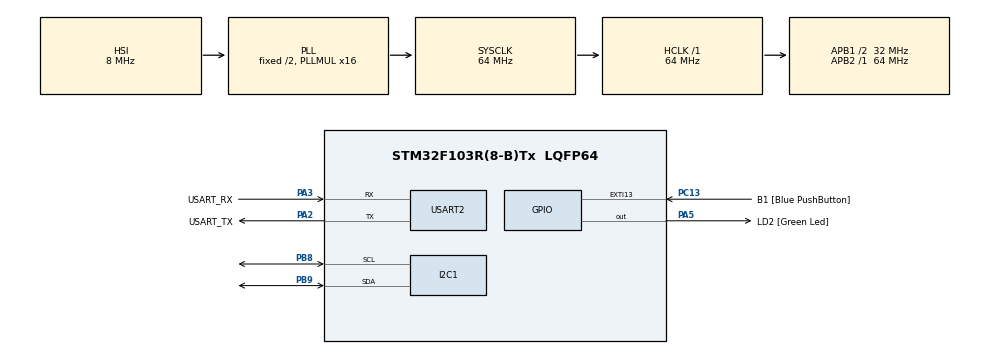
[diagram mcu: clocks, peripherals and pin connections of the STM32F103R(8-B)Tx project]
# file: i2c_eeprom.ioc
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Mcu.Family=STM32F1
Mcu.Name=STM32F103R(8-B)Tx
Mcu.Package=LQFP64
NVIC.EXTI15_10_IRQn=true\:0\:0\:false\:false\:true\:true\:true\:true
NVIC.PriorityGroup=NVIC_PRIORITYGROUP_4
PA13.GPIO_Label=TMS
PA13.Mode=Serial_Wire
PA13.Signal=SYS_JTMS-SWDIO
PA14.GPIO_Label=TCK
PA14.Mode=Serial_Wire
PA14.Signal=SYS_JTCK-SWCLK
PA2.GPIO_Label=USART_TX
PA2.GPIO_Mode=GPIO_MODE_AF_PP
PA2.GPIO_PuPd=GPIO_NOPULL
PA2.GPIO_Speed=GPIO_SPEED_FREQ_LOW
PA2.Mode=Asynchronous
PA2.Signal=USART2_TX
PA3.GPIO_Label=USART_RX
PA3.GPIO_Mode=GPIO_MODE_AF_PP
PA3.GPIO_PuPd=GPIO_NOPULL
PA3.GPIO_Speed=GPIO_SPEED_FREQ_LOW
PA3.Mode=Asynchronous
PA3.Signal=USART2_RX
PA5.GPIO_Label=LD2 [Green Led]
PA5.GPIO_ModeDefaultOutputPP=GPIO_MODE_OUTPUT_PP
PA5.GPIO_PuPd=GPIO_NOPULL
PA5.GPIO_Speed=GPIO_SPEED_FREQ_LOW
PA5.Signal=GPIO_Output
PB3.GPIO_Label=SWO
PB3.Signal=SYS_JTDO-TRACESWO
PB8.Mode=I2C
PB8.Signal=I2C1_SCL
PB9.Mode=I2C
PB9.Signal=I2C1_SDA
PC13-TAMPER-RTC.GPIO_Label=B1 [Blue PushButton]
PC13-TAMPER-RTC.GPIO_PuPd=GPIO_NOPULL
PC13-TAMPER-RTC.Signal=GPXTI13
PC14-OSC32_IN.Signal=RCC_OSC32_IN
PC15-OSC32_OUT.Signal=RCC_OSC32_OUT
PD0-OSC_IN.Signal=RCC_OSC_IN
PD1-OSC_OUT.Signal=RCC_OSC_OUT
ProjectManager.HeapSize=0x200
ProjectManager.StackSize=0x400
ProjectManager.TargetToolchain=STM32CubeIDE
RCC.AHBFreq_Value=64000000
RCC.APB1CLKDivider=RCC_HCLK_DIV2
RCC.APB1Freq_Value=32000000
RCC.APB1TimFreq_Value=64000000
RCC.APB2Freq_Value=64000000
RCC.APB2TimFreq_Value=64000000
RCC.HCLKFreq_Value=64000000
RCC.PLLMUL=RCC_PLL_MUL16
RCC.RTCClockSelection=RCC_RTCCLKSOURCE_LSE
RCC.SYSCLKFreq_VALUE=64000000
RCC.SYSCLKSource=RCC_SYSCLKSOURCE_PLLCLK
RCC.USBFreq_Value=64000000
USART2.VirtualMode=VM_ASYNC
board=NUCLEO-F103RB

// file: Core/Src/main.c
/* USER CODE BEGIN Header */
/**
  ******************************************************************************
  * @file           : main.c
  * @brief          : Main program body
  ******************************************************************************
  * @attention
  *
  * Copyright (c) 2025 STMicroelectronics.
  * All rights reserved.
  *
  * This software is licensed under terms that can be found in the LICENSE file
  * in the root directory of this software component.
  * If no LICENSE file comes with this software, it is provided AS-IS.
  *
  ******************************************************************************
  */
/* USER CODE END Header */
#include "main.h"

/* USER CODE BEGIN Includes */
#include <stdio.h>
#include <string.h>
/* USER CODE END Includes */

/* USER CODE BEGIN PD */
#define K24C256_ADDR        0xA0    // K24C256 I2C 주소 (A0,A1,A2 = 000)
#define EEPROM_PAGE_SIZE    64      // K24C256 페이지 크기 (64 bytes)
#define EEPROM_SIZE         32768   // K24C256 총 크기 (32KB)
#define TEST_ADDRESS        0x0000  // 테스트용 주소
/* USER CODE END PD */

I2C_HandleTypeDef hi2c1;

UART_HandleTypeDef huart2;

/* USER CODE BEGIN PV */
uint8_t i2c_scan_found = 0;
uint8_t eeprom_address = 0;
/* USER CODE END PV */

void SystemClock_Config(void);
static void MX_GPIO_Init(void);
static void MX_USART2_UART_Init(void);
static void MX_I2C1_Init(void);
/* USER CODE BEGIN PFP */
void I2C_Scan(void);
HAL_StatusTypeDef EEPROM_Write(uint16_t mem_addr, uint8_t *data, uint16_t size);
HAL_StatusTypeDef EEPROM_Read(uint16_t mem_addr, uint8_t *data, uint16_t size);
void EEPROM_Test(void);
void Test_0xB0_Device(void);
/* USER CODE END PFP */

/* USER CODE BEGIN 0 */
#ifdef __GNUC__
#define PUTCHAR_PROTOTYPE int __io_putchar(int ch)
#else
#define PUTCHAR_PROTOTYPE int fputc(int ch, FILE *f)
#endif /* __GNUC__ */
PUTCHAR_PROTOTYPE
{

  if (ch == '\n')
    HAL_UART_Transmit(&huart2, (uint8_t*)"\r", 1, 0xFFFF);
  HAL_UART_Transmit(&huart2, (uint8_t*)&ch, 1, 0xFFFF);

  return ch;
}

/**
  * @brief  I2C 주소 스캔 함수
  * @param  None
  * @retval None
  */
void I2C_Scan(void)
{
  printf("\n=== I2C Address Scan ===\n");
  printf("Scanning I2C bus...\n");

  i2c_scan_found = 0;

  for(uint8_t i = 0; i < 128; i++)
  {
    if(HAL_I2C_IsDeviceReady(&hi2c1, (uint16_t)(i<<1), 3, 5) == HAL_OK)
    {
      printf("Found I2C device at address: 0x%02X (7-bit: 0x%02X)\n", (i<<1), i);
      i2c_scan_found++;

      // K24C256 주소 범위 확인 (0xA0~0xAE)
      if((i<<1) >= 0xA0 && (i<<1) <= 0xAE)
      {
        eeprom_address = (i<<1);
        printf("** K24C256 EEPROM detected at 0x%02X **\n", eeprom_address);
      }
    }
  }

  if(i2c_scan_found == 0)
  {
    printf("No I2C devices found!\n");
  }
  else
  {
    printf("Total %d I2C device(s) found.\n", i2c_scan_found);
  }
  printf("========================\n\n");
}

/**
  * @brief  EEPROM 쓰기 함수
  * @param  mem_addr: 메모리 주소
  * @param  data: 쓸 데이터 포인터
  * @param  size: 데이터 크기
  * @retval HAL_StatusTypeDef
  */
HAL_StatusTypeDef EEPROM_Write(uint16_t mem_addr, uint8_t *data, uint16_t size)
{
  HAL_StatusTypeDef status = HAL_OK;
  uint16_t bytes_to_write;
  uint16_t current_addr = mem_addr;
  uint16_t data_index = 0;

  while(size > 0)
  {
    // 페이지 경계를 고려한 쓰기 크기 계산
    bytes_to_write = EEPROM_PAGE_SIZE - (current_addr % EEPROM_PAGE_SIZE);
    if(bytes_to_write > size)
      bytes_to_write = size;

    // EEPROM에 쓰기
    status = HAL_I2C_Mem_Write(&hi2c1, eeprom_address, current_addr,
                               I2C_MEMADD_SIZE_16BIT, &data[data_index],
                               bytes_to_write, HAL_MAX_DELAY);

    if(status != HAL_OK)
    {
      printf("EEPROM Write Error at address 0x%04X\n", current_addr);
      return status;
    }

    // EEPROM 쓰기 완료 대기 (Write Cycle Time)
    HAL_Delay(5);

    // 다음 쓰기를 위한 변수 업데이트
    current_addr += bytes_to_write;
    data_index += bytes_to_write;
    size -= bytes_to_write;
  }

  return status;
}

/**
  * @brief  EEPROM 읽기 함수
  * @param  mem_addr: 메모리 주소
  * @param  data: 읽을 데이터 포인터
  * @param  size: 데이터 크기
  * @retval HAL_StatusTypeDef
  */
HAL_StatusTypeDef EEPROM_Read(uint16_t mem_addr, uint8_t *data, uint16_t size)
{
  return HAL_I2C_Mem_Read(&hi2c1, eeprom_address, mem_addr,
                          I2C_MEMADD_SIZE_16BIT, data, size, HAL_MAX_DELAY);
}

/**
  * @brief  EEPROM 테스트 함수
  * @param  None
  * @retval None
  */
void EEPROM_Test(void)
{
  if(eeprom_address == 0)
  {
    printf("EEPROM not detected! Cannot perform test.\n\n");
    return;
  }

  printf("=== EEPROM Test ===\n");

  // 테스트 데이터 준비
  char write_data[] = "Hello, STM32F103 with K24C256 EEPROM!";
  uint8_t read_data[100] = {0};
  uint16_t data_len = strlen(write_data);

  printf("Test Address: 0x%04X\n", TEST_ADDRESS);
  printf("Write Data: \"%s\" (%d bytes)\n", write_data, data_len);

  // EEPROM에 데이터 쓰기
  printf("Writing to EEPROM...\n");
  if(EEPROM_Write(TEST_ADDRESS, (uint8_t*)write_data, data_len) == HAL_OK)
  {
    printf("Write successful!\n");
  }
  else
  {
    printf("Write failed!\n");
    return;
  }

  // 잠시 대기
  HAL_Delay(10);

  // EEPROM에서 데이터 읽기
  printf("Reading from EEPROM...\n");
  if(EEPROM_Read(TEST_ADDRESS, read_data, data_len) == HAL_OK)
  {
    printf("Read successful!\n");
    printf("Read Data: \"%s\" (%d bytes)\n", (char*)read_data, data_len);

    // 데이터 비교
    if(memcmp(write_data, read_data, data_len) == 0)
    {
      printf("** Data verification PASSED! **\n");
    }
    else
    {
      printf("** Data verification FAILED! **\n");
    }
  }
  else
  {
    printf("Read failed!\n");
  }

  printf("===================\n\n");

  // 추가 테스트: 숫자 데이터
  printf("=== Number Data Test ===\n");
  uint8_t num_write[10] = {0, 1, 2, 3, 4, 5, 6, 7, 8, 9};
  uint8_t num_read[10] = {0};
  uint16_t num_addr = TEST_ADDRESS + 100;

  printf("Writing numbers 0-9 to address 0x%04X...\n", num_addr);
  if(EEPROM_Write(num_addr, num_write, 10) == HAL_OK)
  {
    HAL_Delay(10);

    if(EEPROM_Read(num_addr, num_read, 10) == HAL_OK)
    {
      printf("Write Data: ");
      for(int i = 0; i < 10; i++) printf("%d ", num_write[i]);
      printf("\n");

      printf("Read Data:  ");
      for(int i = 0; i < 10; i++) printf("%d ", num_read[i]);
      printf("\n");

      if(memcmp(num_write, num_read, 10) == 0)
      {
        printf("** Number test PASSED! **\n");
      }
      else
      {
        printf("** Number test FAILED! **\n");
      }
    }
  }
  printf("========================\n\n");
}
void Test_0xB0_Device(void)
{
  printf("=== Testing 0xB0 Device Identity ===\n");
  printf("Checking if 0xB0 is an extended memory block...\n\n");

  uint8_t write_data[] = "Block1Test";
  uint8_t read_data[20] = {0};
  uint16_t test_addr = 0x0100;
  HAL_StatusTypeDef status;

  // 테스트 1: EEPROM처럼 동작하는지 확인
  printf("Test 1: Writing to 0xB0 at address 0x%04X...\n", test_addr);
  status = HAL_I2C_Mem_Write(&hi2c1, 0xB0, test_addr,
                             I2C_MEMADD_SIZE_16BIT, write_data,
                             strlen((char*)write_data), HAL_MAX_DELAY);

  if(status == HAL_OK)
  {
    printf("  Write to 0xB0: SUCCESS\n");
    HAL_Delay(10);

    // 읽기 시도
    printf("Test 2: Reading from 0xB0 at address 0x%04X...\n", test_addr);
    status = HAL_I2C_Mem_Read(&hi2c1, 0xB0, test_addr,
                              I2C_MEMADD_SIZE_16BIT, read_data,
                              strlen((char*)write_data), HAL_MAX_DELAY);

    if(status == HAL_OK)
    {
      printf("  Read from 0xB0: SUCCESS\n");
      printf("  Write Data: \"%s\"\n", write_data);
      printf("  Read Data:  \"%s\"\n", read_data);

      if(memcmp(write_data, read_data, strlen((char*)write_data)) == 0)
      {
        printf("\n** 0xB0 IS A VALID EEPROM BLOCK! **\n");
        printf("** Your chip is likely 64KB (512Kbit), not 32KB! **\n");
        printf("** Block 0 (0xA0): 32KB **\n");
        printf("** Block 1 (0xB0): 32KB **\n");
        printf("** Total: 64KB available! **\n");
      }
      else
      {
        printf("\n** Data mismatch - 0xB0 behavior unclear **\n");
      }
    }
    else
    {
      printf("  Read from 0xB0: FAILED\n");
      printf("** 0xB0 accepts write but not read - unusual device **\n");
    }
  }
  else
  {
    printf("  Write to 0xB0: FAILED\n");

    // 테스트 3: 다른 프로토콜 시도
    printf("\nTest 3: Trying different access methods...\n");

    // 8비트 주소로 시도
    status = HAL_I2C_Mem_Read(&hi2c1, 0xB0, 0x00,
                              I2C_MEMADD_SIZE_8BIT, read_data, 8, 1000);
    if(status == HAL_OK)
    {
      printf("  8-bit address read: SUCCESS\n");
      printf("  Data: ");
      for(int i=0; i<8; i++) printf("%02X ", read_data[i]);
      printf("\n");
      printf("** 0xB0 is likely an RTC, sensor, or other I2C device **\n");
    }
    else
    {
      // 단순 수신 시도
      status = HAL_I2C_Master_Receive(&hi2c1, 0xB0, read_data, 8, 1000);
      if(status == HAL_OK)
      {
        printf("  Simple receive: SUCCESS\n");
        printf("  Data: ");
        for(int i=0; i<8; i++) printf("%02X ", read_data[i]);
        printf("\n");
        printf("** 0xB0 responds but protocol unclear **\n");
      }
      else
      {
        printf("  All access methods: FAILED\n");
        printf("** 0xB0 detected but not accessible **\n");
        printf("** Possible ghost address or bus issue **\n");
      }
    }
  }

  // 크로스 체크: 0xA0와 0xB0가 같은 메모리를 공유하는지 확인
  printf("\nTest 4: Cross-check with 0xA0...\n");
  memset(read_data, 0, sizeof(read_data));

  // 0xA0에 특별한 데이터 쓰기
  uint8_t marker[] = "CrossCheck";
  if(EEPROM_Write(0x0200, marker, strlen((char*)marker)) == HAL_OK)
  {
    HAL_Delay(10);

    // 0xB0의 같은 주소에서 읽기 시도
    status = HAL_I2C_Mem_Read(&hi2c1, 0xB0, 0x0200,
                              I2C_MEMADD_SIZE_16BIT, read_data,
                              strlen((char*)marker), HAL_MAX_DELAY);

    if(status == HAL_OK)
    {
      printf("  0xB0 read at 0x0200: SUCCESS\n");
      printf("  0xA0 wrote: \"%s\"\n", marker);
      printf("  0xB0 read:  \"%s\"\n", read_data);

      if(memcmp(marker, read_data, strlen((char*)marker)) == 0)
      {
        printf("\n** 0xA0 and 0xB0 share SAME memory! **\n");
        printf("** 0xB0 is an ALIAS of 0xA0 - same 32KB chip **\n");
        printf("** Your chip reports multiple addresses **\n");
      }
      else
      {
        printf("\n** 0xA0 and 0xB0 have DIFFERENT data! **\n");
        printf("** They are INDEPENDENT memory blocks **\n");
        printf("** Total 64KB confirmed! **\n");
      }
    }
    else
    {
      printf("  0xB0 read at 0x0200: FAILED\n");
      printf("** Cannot determine relationship **\n");
    }
  }

  printf("====================================\n\n");
}
/* USER CODE END 0 */

int main(void)
{

  /* MCU Configuration--------------------------------------------------------*/

  /* Reset of all peripherals, Initializes the Flash interface and the Systick. */
  HAL_Init();

  /* Configure the system clock */
  SystemClock_Config();

  /* Initialize all configured peripherals */
  MX_GPIO_Init();
  MX_USART2_UART_Init();
  MX_I2C1_Init();
  /* USER CODE BEGIN 2 */
  printf("\n\n");
    printf("========================================\n");
    printf("  STM32F103 I2C EEPROM K24C256 Test    \n");
    printf("  System Clock: 64MHz                  \n");
    printf("  I2C Speed: 100kHz                    \n");
    printf("========================================\n");

    // I2C 주소 스캔
    I2C_Scan();

    // EEPROM 테스트
    EEPROM_Test();
    Test_0xB0_Device();

    printf("Test completed. Entering main loop...\n\n");
  /* USER CODE END 2 */

  /* Infinite loop */
  /* USER CODE BEGIN WHILE */
    uint32_t loop_count = 0;
  while (1)
  {
	  // 10초마다 상태 출력
	  	    if(loop_count % 1000 == 0)
	  	    {
	  	      printf("System running... Loop count: %lu\n", loop_count/1000);

	  	      HAL_GPIO_TogglePin(LD2_GPIO_Port, LD2_Pin);
	  	    }

	  	    loop_count++;
	  	    HAL_Delay(10);
    /* USER CODE END WHILE */

  }
}

void SystemClock_Config(void)
{
  RCC_OscInitTypeDef RCC_OscInitStruct = {0};
  RCC_ClkInitTypeDef RCC_ClkInitStruct = {0};

  /** Initializes the RCC Oscillators according to the specified parameters
  * in the RCC_OscInitTypeDef structure.
  */
  RCC_OscInitStruct.OscillatorType = RCC_OSCILLATORTYPE_HSI;
  RCC_OscInitStruct.HSIState = RCC_HSI_ON;
  RCC_OscInitStruct.HSICalibrationValue = RCC_HSICALIBRATION_DEFAULT;
  RCC_OscInitStruct.PLL.PLLState = RCC_PLL_ON;
  RCC_OscInitStruct.PLL.PLLSource = RCC_PLLSOURCE_HSI_DIV2;
  RCC_OscInitStruct.PLL.PLLMUL = RCC_PLL_MUL16;
  if (HAL_RCC_OscConfig(&RCC_OscInitStruct) != HAL_OK)
  {
    Error_Handler();
  }

  /** Initializes the CPU, AHB and APB buses clocks
  */
  RCC_ClkInitStruct.ClockType = RCC_CLOCKTYPE_HCLK|RCC_CLOCKTYPE_SYSCLK
                              |RCC_CLOCKTYPE_PCLK1|RCC_CLOCKTYPE_PCLK2;
  RCC_ClkInitStruct.SYSCLKSource = RCC_SYSCLKSOURCE_PLLCLK;
  RCC_ClkInitStruct.AHBCLKDivider = RCC_SYSCLK_DIV1;
  RCC_ClkInitStruct.APB1CLKDivider = RCC_HCLK_DIV2;
  RCC_ClkInitStruct.APB2CLKDivider = RCC_HCLK_DIV1;

  if (HAL_RCC_ClockConfig(&RCC_ClkInitStruct, FLASH_LATENCY_2) != HAL_OK)
  {
    Error_Handler();
  }
}

static void MX_I2C1_Init(void)
{

  hi2c1.Instance = I2C1;
  hi2c1.Init.ClockSpeed = 100000;
  hi2c1.Init.DutyCycle = I2C_DUTYCYCLE_2;
  hi2c1.Init.OwnAddress1 = 0;
  hi2c1.Init.AddressingMode = I2C_ADDRESSINGMODE_7BIT;
  hi2c1.Init.DualAddressMode = I2C_DUALADDRESS_DISABLE;
  hi2c1.Init.OwnAddress2 = 0;
  hi2c1.Init.GeneralCallMode = I2C_GENERALCALL_DISABLE;
  hi2c1.Init.NoStretchMode = I2C_NOSTRETCH_DISABLE;
  if (HAL_I2C_Init(&hi2c1) != HAL_OK)
  {
    Error_Handler();
  }

}

static void MX_USART2_UART_Init(void)
{

  huart2.Instance = USART2;
  huart2.Init.BaudRate = 115200;
  huart2.Init.WordLength = UART_WORDLENGTH_8B;
  huart2.Init.StopBits = UART_STOPBITS_1;
  huart2.Init.Parity = UART_PARITY_NONE;
  huart2.Init.Mode = UART_MODE_TX_RX;
  huart2.Init.HwFlowCtl = UART_HWCONTROL_NONE;
  huart2.Init.OverSampling = UART_OVERSAMPLING_16;
  if (HAL_UART_Init(&huart2) != HAL_OK)
  {
    Error_Handler();
  }

}

static void MX_GPIO_Init(void)
{
  GPIO_InitTypeDef GPIO_InitStruct = {0};

  /* GPIO Ports Clock Enable */
  __HAL_RCC_GPIOC_CLK_ENABLE();
  __HAL_RCC_GPIOD_CLK_ENABLE();
  __HAL_RCC_GPIOA_CLK_ENABLE();
  __HAL_RCC_GPIOB_CLK_ENABLE();

  /*Configure GPIO pin Output Level */
  HAL_GPIO_WritePin(LD2_GPIO_Port, LD2_Pin, GPIO_PIN_RESET);

  /*Configure GPIO pin : B1_Pin */
  GPIO_InitStruct.Pin = B1_Pin;
  GPIO_InitStruct.Mode = GPIO_MODE_IT_RISING;
  GPIO_InitStruct.Pull = GPIO_NOPULL;
  HAL_GPIO_Init(B1_GPIO_Port, &GPIO_InitStruct);

  /*Configure GPIO pin : LD2_Pin */
  GPIO_InitStruct.Pin = LD2_Pin;
  GPIO_InitStruct.Mode = GPIO_MODE_OUTPUT_PP;
  GPIO_InitStruct.Pull = GPIO_NOPULL;
  GPIO_InitStruct.Speed = GPIO_SPEED_FREQ_LOW;
  HAL_GPIO_Init(LD2_GPIO_Port, &GPIO_InitStruct);

  /* EXTI interrupt init*/
  HAL_NVIC_SetPriority(EXTI15_10_IRQn, 0, 0);
  HAL_NVIC_EnableIRQ(EXTI15_10_IRQn);

}

void Error_Handler(void)
{
  __disable_irq();
  while (1)
  {
  }
}
